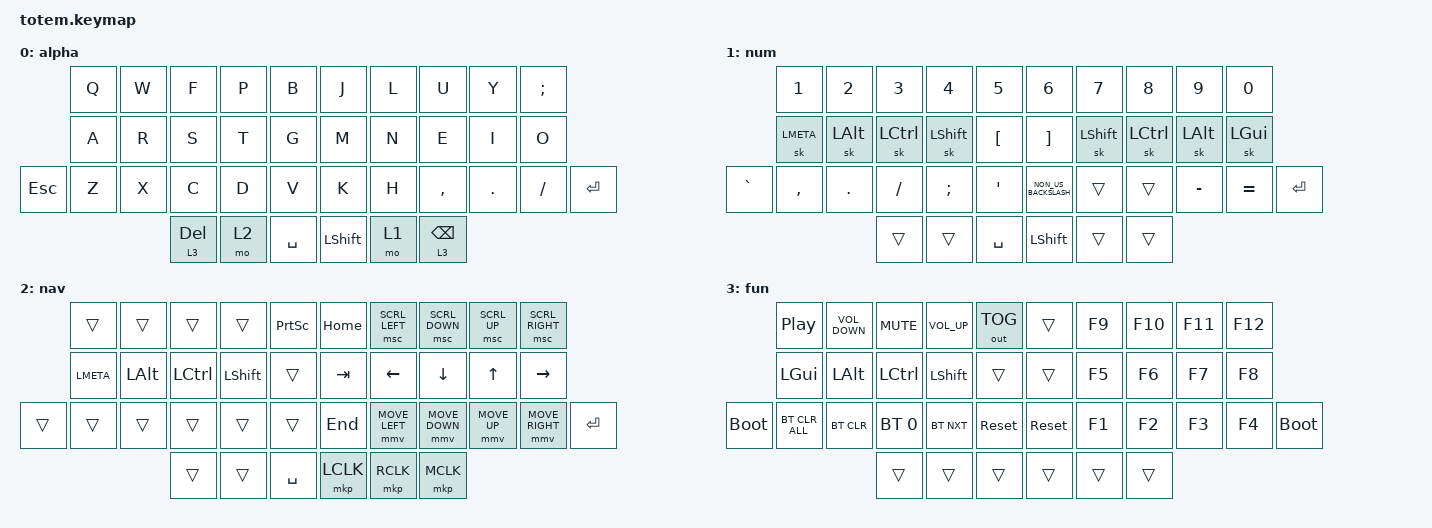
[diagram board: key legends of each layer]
//
//                                                        ▀▀▀▀▀     ▀▀▀▀▀          ▀▀█▀▀
//                                                        ▄▀▀▀▄  ▄  ▄▀▀▀▄  ▄  ▄▀▀▀▄  █  ▄▀▀▀▄
//                                                        █   █  █  █   █  █  █   █  █  █   █
//                                                         ▀▀▀   █   ▀▀▀   █   ▀▀▀   ▀   ▀▀▀
//                                                               █      ▄▄▄█▄▄▄    █   █  
//                                                               ▀      █  █  █     █▄█
//                                                             ▀▀▀▀▀    █  █  █      ▀
//                                                                      ▀  ▀  ▀
//
// ▄▄▄▄▄▄▄▄▄▄▄▄▄▄▄▄▄▄▄▄▄▄▄▄▄▄▄▄▄▄▄▄▄▄▄▄▄▄▄▄▄▄▄▄▄▄▄▄▄▄▄▄▄▄▄▄▄▄▄▄▄▄▄▄▄▄▄▄▄▄▄▄▄▄▄▄▄▄▄▄▄▄▄▄▄▄▄▄▄▄▄▄▄▄▄▄▄▄▄▄▄▄▄▄▄▄▄▄▄▄▄▄▄▄▄▄▄▄▄▄▄▄▄▄▄▄▄▄▄▄▄▄▄▄▄▄▄▄▄▄▄▄▄▄▄▄▄▄▄

#define ZMK_POINTING_DEFAULT_MOVE_VAL 2400
#define ZMK_POINTING_DEFAULT_SCRL_VAL 30

#include <behaviors.dtsi>
#include <dt-bindings/zmk/bt.h>
#include <dt-bindings/zmk/keys.h>
#include <dt-bindings/zmk/outputs.h>
#include <dt-bindings/zmk/pointing.h>

#define BASE 0
#define NAV  1
#define SYM  2
#define ADJ  3
#define TVP1 4
#define TVP2 5

&mt {
    quick-tap-ms = <100>;
    global-quick-tap;
    flavor = "tap-preferred";
    tapping-term-ms = <170>;
};

&mmv {
    delay-ms = <0>;
    acceleration-exponent = <2>;
    time-to-max-speed-ms = <650>;
};

&msc { delay-ms = <0>; };

&sk {
    lazy;
    quick-release;
};

/ {
    combos {
        compatible = "zmk,combos";

        combo_esc {
            timeout-ms = <50>;
            key-positions = <0 1>;
            bindings = <&kp ESC>;
        };

        combo_tvp {
            timeout-ms = <100>;
            key-positions = <11 12 13>;
            bindings = <&tog 0>;
        };

        combo_tab {
            bindings = <&kp TAB>;
            key-positions = <8 9>;
        };
    };

    keymap {
        compatible = "zmk,keymap";

        // ▄▄▄▄▄▄▄▄▄▄▄▄▄▄▄▄▄▄▄▄▄▄▄▄▄▄▄▄▄▄▄▄▄▄▄▄▄▄▄▄▄▄▄▄▄▄▄▄▄▄▄▄▄▄▄▄▄▄▄▄▄▄▄▄▄▄▄▄▄▄▄▄▄▄▄▄▄▄▄▄▄▄▄▄▄▄▄▄▄▄▄▄▄▄▄▄▄▄▄▄▄▄▄▄▄▄▄▄▄▄▄▄▄▄▄▄▄▄▄▄▄▄▄▄▄▄▄▄▄▄▄▄▄▄▄▄▄▄▄▄▄▄▄▄▄▄▄▄▄
        // ▄▄▄▄▄▄▄▄▄▄▄▄▄▄▄▄▄▄▄▄▄▄▄▄▄▄▄▄▄▄▄▄▄▄▄▄▄▄▄▄▄▄▄▄▄▄▄▄▄▄▄▄▄▄▄▄▄▄▄▄▄▄▄▄▄▄▄▄▄▄▄▄▄▄▄▄▄▄▄▄▄▄▄▄▄▄▄▄▄▄▄▄▄▄▄▄▄▄▄▄▄▄▄▄▄▄▄▄▄▄▄▄▄▄▄▄▄▄▄▄▄▄▄▄▄▄▄▄▄▄▄▄▄▄▄▄▄▄▄▄▄▄▄▄▄▄▄▄▄
        // ▄▄▄▄▄▄▄▄▄▄▄▄▄▄▄▄▄▄▄▄▄▄▄▄▄▄▄▄▄▄▄▄▄▄▄▄▄▄▄▄▄▄▄▄▄▄▄▄▄▄▄▄▄▄▄▄▄▄▄▄▄▄▄▄▄▄▄▄▄▄▄▄▄▄▄▄▄▄▄▄▄▄▄▄▄▄▄▄▄▄▄▄▄▄▄▄▄▄▄▄▄▄▄▄▄▄▄▄▄▄▄▄▄▄▄▄▄▄▄▄▄▄▄▄▄▄▄▄▄▄▄▄▄▄▄▄▄▄▄▄▄▄▄▄▄▄▄▄▄
        // ▄▄▄▄▄▄▄▄▄▄▄▄▄▄▄▄▄▄▄▄▄▄▄▄▄▄▄▄▄▄▄▄▄▄▄▄▄▄▄▄▄▄▄▄▄▄▄▄▄▄▄▄▄▄▄▄▄▄▄▄▄▄▄▄▄▄▄▄▄▄▄▄▄▄▄▄▄▄▄▄▄▄▄▄▄▄▄▄▄▄▄▄▄▄▄▄▄▄▄▄▄▄▄▄▄▄▄▄▄▄▄▄▄▄▄▄▄▄▄▄▄▄▄▄▄▄▄▄▄▄▄▄▄▄▄▄▄▄▄▄▄▄▄▄▄▄▄▄▄
        // ▄▄▄▄▄▄▄▄▄▄▄▄▄▄▄▄▄▄▄▄▄▄▄▄▄▄▄▄▄▄▄▄▄▄▄▄▄▄▄▄▄▄▄▄▄▄▄▄▄▄▄▄▄▄▄▄▄▄▄▄▄▄▄▄▄▄▄▄▄▄▄▄▄▄▄▄▄▄▄▄▄▄▄▄▄▄▄▄▄▄▄▄▄▄▄▄▄▄▄▄▄▄▄▄▄▄▄▄▄▄▄▄▄▄▄▄▄▄▄▄▄▄▄▄▄▄▄▄▄▄▄▄▄▄▄▄▄▄▄▄▄▄▄▄▄▄▄▄▄
        // ▄▄▄▄▄▄▄▄▄▄▄▄▄▄▄▄▄▄▄▄▄▄▄▄▄▄▄▄▄▄▄▄▄▄▄▄▄▄▄▄▄▄▄▄▄▄▄▄▄▄▄▄▄▄▄▄▄▄▄▄▄▄▄▄▄▄▄▄▄▄▄▄▄▄▄▄▄▄▄▄▄▄▄▄▄▄▄▄▄▄▄▄▄▄▄▄▄▄▄▄▄▄▄▄▄▄▄▄▄▄▄▄▄▄▄▄▄▄▄▄▄▄▄▄▄▄▄▄▄▄▄▄▄▄▄▄▄▄▄▄▄▄▄▄▄▄▄▄▄

        alpha {
            bindings = <
         &kp Q  &kp W  &kp F      &kp P  &kp B        &kp J       &kp L  &kp U       &kp Y    &kp SEMICOLON
         &kp A  &kp R  &kp S      &kp T  &kp G        &kp M       &kp N  &kp E       &kp I    &kp O
&kp ESC  &kp Z  &kp X  &kp C      &kp D  &kp V        &kp K       &kp H  &kp COMMA   &kp DOT  &kp FSLH       &kp ENTER
                       &lt 3 DEL  &mo 2  &kp SPACE    &kp LSHIFT  &mo 1  &lt 3 BSPC
            >;
        };

        num {
            bindings = <
           &kp N1     &kp N2    &kp N3     &kp N4         &kp N5              &kp N6                &kp N7     &kp N8     &kp N9     &kp N0
           &sk LMETA  &sk LALT  &sk LCTRL  &sk LSHFT      &kp LEFT_BRACKET    &kp RIGHT_BRACKET     &sk LSHFT  &sk LCTRL  &sk LALT   &sk LGUI
&kp GRAVE  &kp COMMA  &kp DOT   &kp SLASH  &kp SEMICOLON  &kp APOSTROPHE      &kp NON_US_BACKSLASH  &trans     &trans     &kp MINUS  &kp EQUAL  &kp ENTER
                                &trans     &trans         &kp SPACE           &kp LSHIFT            &trans     &trans
            >;
        };

        nav {
            bindings = <
        &trans     &trans    &trans     &trans      &kp PRINTSCREEN    &kp HOME   &msc SCRL_LEFT  &msc SCRL_DOWN  &msc SCRL_UP  &msc SCRL_RIGHT
        &kp LMETA  &kp LALT  &kp LCTRL  &kp LSHIFT  &trans             &kp TAB    &kp LEFT        &kp DOWN        &kp UP        &kp RIGHT
&trans  &trans     &trans    &trans     &trans      &trans             &kp END    &mmv MOVE_LEFT  &mmv MOVE_DOWN  &mmv MOVE_UP  &mmv MOVE_RIGHT  &kp ENTER
                             &trans     &trans      &kp SPACE          &mkp LCLK  &mkp RCLK       &mkp MCLK
            >;
        };

        fun {
            bindings = <
             &kp C_PLAY_PAUSE  &kp C_VOLUME_DOWN  &kp C_MUTE    &kp C_VOL_UP  &out OUT_TOG    &trans      &kp F9  &kp F10  &kp F11  &kp F12
             &kp LGUI          &kp LALT           &kp LCTRL     &kp LSHFT     &trans          &trans      &kp F5  &kp F6   &kp F7   &kp F8
&bootloader  &bt BT_CLR_ALL    &bt BT_CLR         &bt BT_SEL 0  &bt BT_NXT    &sys_reset      &sys_reset  &kp F1  &kp F2   &kp F3   &kp F4   &bootloader
                                                  &trans        &trans        &trans          &trans      &trans  &trans
            >;
        };
    };
};
